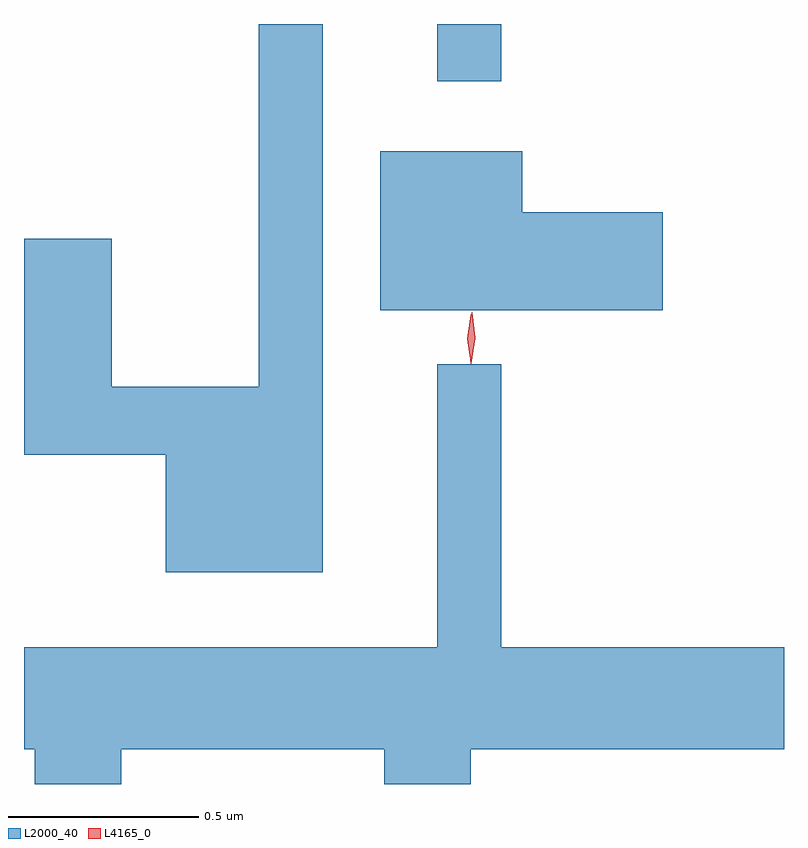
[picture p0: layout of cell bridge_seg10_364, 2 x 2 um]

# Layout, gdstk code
import gdstk
lib = gdstk.Library(unit=1e-6, precision=1e-09)
def R(c, l, rs):  # rectangles x0, y0, x1, y1
    for r in rs: c.add(gdstk.rectangle(r[:2], r[2:], *l))
def P(c, l, *ps):  # polygons
    for p in ps: c.add(gdstk.Polygon(p, *l))
L2000_40 = (2000, 40)
L4165_0 = (4165, 0)

bridge_seg10_364 = lib.new_cell('bridge_seg10_364')
R(bridge_seg10_364, L2000_40, [(1330.081,2155.633,1330.249,2155.784)])
P(bridge_seg10_364, L2000_40, [(1329.779,2155.784),(1329.611,2155.784),(1329.611,2154.829),(1329.224,2154.829),(1329.224,2155.219),(1328.993,2155.219),(1328.993,2154.651),(1329.366,2154.651),(1329.366,2154.341),(1329.779,2154.341)],
  [(1330.674,2155.289),(1330.304,2155.289),(1330.304,2155.449),(1329.931,2155.449),(1329.931,2155.031),(1330.674,2155.031)],
  [(1329.249,2153.876),(1329.941,2153.876),(1329.941,2153.784),(1330.169,2153.784),(1330.169,2153.876),(1330.993,2153.876),(1330.993,2154.144),(1330.249,2154.144),(1330.249,2154.888),(1330.081,2154.888),(1330.081,2154.144),(1328.993,2154.144),(1328.993,2153.876),(1329.021,2153.876),(1329.021,2153.784),(1329.249,2153.784)])
P(bridge_seg10_364, L4165_0, [(1330.169,2154.89),(1330.161,2154.958),(1330.171,2155.026),(1330.171,2155.026),(1330.172,2155.026),(1330.181,2154.958),(1330.17,2154.89),(1330.17,2154.89)],
  [(1330.17,2154.893),(1330.169,2154.894),(1330.16,2154.956),(1330.169,2155.019),(1330.17,2155.02),(1330.17,2155.019),(1330.18,2154.956),(1330.17,2154.894)])

lib.write_gds('bridge_seg10_364.gds')
